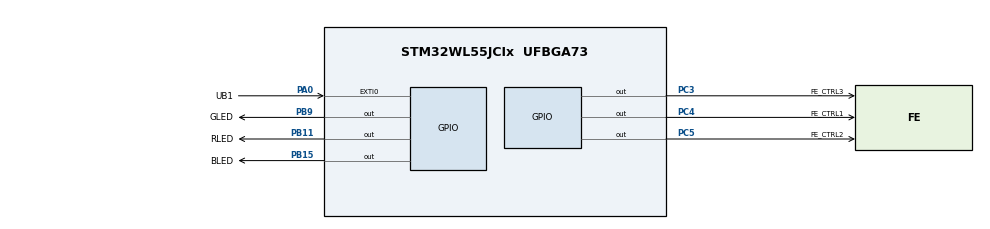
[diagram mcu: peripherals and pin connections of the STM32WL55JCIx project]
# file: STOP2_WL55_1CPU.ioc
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Mcu.Family=STM32WL
Mcu.Name=STM32WL55JCIx
Mcu.Package=UFBGA73
NVIC.EXTI0_IRQn=true\:0\:0\:false\:false\:true\:true\:true\:true
NVIC.PriorityGroup=NVIC_PRIORITYGROUP_4
NVIC.RTC_WKUP_IRQn=true\:0\:0\:false\:false\:true\:true\:true\:true
PA0.GPIO_Label=UB1
PA0.GPIO_ModeDefaultEXTI=GPIO_MODE_IT_FALLING
PA0.GPIO_PuPd=GPIO_PULLUP
PA0.Signal=GPXTI0
PA2.GPIO_Label=T_VCP_RX
PA2.Signal=USART2_TX
PA3.GPIO_Label=T_VCP_RX
PA3.Signal=USART2_RX
PB11.GPIO_Label=RLED
PB11.Signal=GPIO_Output
PB15.GPIO_Label=BLED
PB15.Signal=GPIO_Output
PB9.GPIO_Label=GLED
PB9.Signal=GPIO_Output
PC14-OSC32_IN.GPIO_Label=RCC_OSC32_IN
PC14-OSC32_IN.Signal=RCC_OSC32_IN
PC15-OSC32_OUT.GPIO_Label=RCC_OSC32_OUT
PC15-OSC32_OUT.Signal=RCC_OSC32_OUT
PC3.GPIO_Label=FE_CTRL3
PC3.GPIO_Speed=GPIO_SPEED_FREQ_VERY_HIGH
PC3.Signal=GPIO_Output
PC4.GPIO_Label=FE_CTRL1
PC4.GPIO_Speed=GPIO_SPEED_FREQ_VERY_HIGH
PC4.Signal=GPIO_Output
PC5.GPIO_Label=FE_CTRL2
PC5.GPIO_Speed=GPIO_SPEED_FREQ_VERY_HIGH
PC5.Signal=GPIO_Output
ProjectManager.HeapSize=0x200
ProjectManager.StackSize=0x400
ProjectManager.TargetToolchain=STM32CubeIDE
RCC.AHBFreq_Value=48000000
RCC.APB1Freq_Value=48000000
RCC.APB1TimFreq_Value=48000000
RCC.APB2Freq_Value=48000000
RCC.APB2TimFreq_Value=48000000
RCC.APB3Freq_Value=48000000
RCC.CortexFreq_Value=48000000
RCC.HCLKFreq_Value=48000000
RCC.HSE_VALUE=32000000
RCC.HSI_VALUE=16000000
RCC.LSE_VALUE=32768
RCC.PLLN=24
RCC.SYSCLKFreq_VALUE=48000000
RCC.SYSCLKSource=RCC_SYSCLKSOURCE_PLLCLK
RCC.VCOOutputFreq_Value=96000000
RTC.WakeUpCounter-WakeUp=0x0FA0
VP_RTC_VS_RTC_Activate.Mode=RTC_Enabled
VP_RTC_VS_RTC_WakeUp_intern.Mode=WakeUp
board=NUCLEO-WL55JC1

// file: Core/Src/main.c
/* USER CODE BEGIN Header */
/**
  ******************************************************************************
  * @file           : main.c
  * @brief          : Main program body
  ******************************************************************************
  * @attention
  *
  * Copyright (c) 2025 STMicroelectronics.
  * All rights reserved.
  *
  * This software is licensed under terms that can be found in the LICENSE file
  * in the root directory of this software component.
  * If no LICENSE file comes with this software, it is provided AS-IS.
  *
  ******************************************************************************
  */
/* USER CODE END Header */
#include "main.h"

/* USER CODE BEGIN Includes */
#include <stdio.h>
/* USER CODE END Includes */

RTC_HandleTypeDef hrtc;

/* USER CODE BEGIN PV */
uint16_t currentLED_Pin = BLED_Pin;
uint16_t sleepDuration = 0x0FA0;
/* USER CODE END PV */

void SystemClock_Config(void);
static void MX_GPIO_Init(void);
static void MX_RTC_Init(void);

int main(void)
{

  /* MCU Configuration--------------------------------------------------------*/

  /* Reset of all peripherals, Initializes the Flash interface and the Systick. */
  HAL_Init();

  /* Configure the system clock */
  SystemClock_Config();

  /* Initialize all configured peripherals */
  MX_GPIO_Init();
  MX_RTC_Init();

  /* Infinite loop */
  /* USER CODE BEGIN WHILE */
  while (1)
  {
	  HAL_GPIO_WritePin(GPIOB, currentLED_Pin, GPIO_PIN_SET);
	  HAL_Delay(1000);
	  HAL_GPIO_WritePin(GPIOB, currentLED_Pin, GPIO_PIN_RESET);
	  // Suspend SysTick increment
	  HAL_SuspendTick();
	  // Set RTC interrupt as our wake-up signal
	  HAL_RTCEx_SetWakeUpTimer_IT(&hrtc, sleepDuration, RTC_WAKEUPCLOCK_RTCCLK_DIV16, 0);

	  /* Enter STOP 2 mode */
	  HAL_PWREx_EnterSTOP2Mode(PWR_STOPENTRY_WFI);
	  /* ####----####----####----####
	   * MCU is asleep in STOP2 mode
	   * ####----####----####----####
	   */

	  // Deactivate wake-up timer
	  HAL_RTCEx_DeactivateWakeUpTimer(&hrtc);
	  // Reset System clock configuration, as STOP2 blocks most of the clocks
	  SystemClock_Config();
	  // Resume the SysTick increment
	  HAL_ResumeTick();
    /* USER CODE END WHILE */

  }
}

void SystemClock_Config(void)
{
  RCC_OscInitTypeDef RCC_OscInitStruct = {0};
  RCC_ClkInitTypeDef RCC_ClkInitStruct = {0};

  /** Configure the main internal regulator output voltage
  */
  __HAL_PWR_VOLTAGESCALING_CONFIG(PWR_REGULATOR_VOLTAGE_SCALE1);

  /** Initializes the CPU, AHB and APB buses clocks
  */
  RCC_OscInitStruct.OscillatorType = RCC_OSCILLATORTYPE_LSI|RCC_OSCILLATORTYPE_MSI;
  RCC_OscInitStruct.MSIState = RCC_MSI_ON;
  RCC_OscInitStruct.MSICalibrationValue = RCC_MSICALIBRATION_DEFAULT;
  RCC_OscInitStruct.MSIClockRange = RCC_MSIRANGE_6;
  RCC_OscInitStruct.LSIDiv = RCC_LSI_DIV1;
  RCC_OscInitStruct.LSIState = RCC_LSI_ON;
  RCC_OscInitStruct.PLL.PLLState = RCC_PLL_ON;
  RCC_OscInitStruct.PLL.PLLSource = RCC_PLLSOURCE_MSI;
  RCC_OscInitStruct.PLL.PLLM = RCC_PLLM_DIV1;
  RCC_OscInitStruct.PLL.PLLN = 24;
  RCC_OscInitStruct.PLL.PLLP = RCC_PLLP_DIV2;
  RCC_OscInitStruct.PLL.PLLR = RCC_PLLR_DIV2;
  RCC_OscInitStruct.PLL.PLLQ = RCC_PLLQ_DIV2;
  if (HAL_RCC_OscConfig(&RCC_OscInitStruct) != HAL_OK)
  {
    Error_Handler();
  }

  /** Configure the SYSCLKSource, HCLK, PCLK1 and PCLK2 clocks dividers
  */
  RCC_ClkInitStruct.ClockType = RCC_CLOCKTYPE_HCLK3|RCC_CLOCKTYPE_HCLK
                              |RCC_CLOCKTYPE_SYSCLK|RCC_CLOCKTYPE_PCLK1
                              |RCC_CLOCKTYPE_PCLK2;
  RCC_ClkInitStruct.SYSCLKSource = RCC_SYSCLKSOURCE_PLLCLK;
  RCC_ClkInitStruct.AHBCLKDivider = RCC_SYSCLK_DIV1;
  RCC_ClkInitStruct.APB1CLKDivider = RCC_HCLK_DIV1;
  RCC_ClkInitStruct.APB2CLKDivider = RCC_HCLK_DIV1;
  RCC_ClkInitStruct.AHBCLK3Divider = RCC_SYSCLK_DIV1;

  if (HAL_RCC_ClockConfig(&RCC_ClkInitStruct, FLASH_LATENCY_2) != HAL_OK)
  {
    Error_Handler();
  }
}

static void MX_RTC_Init(void)
{

  /** Initialize RTC Only
  */
  hrtc.Instance = RTC;
  hrtc.Init.HourFormat = RTC_HOURFORMAT_24;
  hrtc.Init.AsynchPrediv = 127;
  hrtc.Init.SynchPrediv = 255;
  hrtc.Init.OutPut = RTC_OUTPUT_DISABLE;
  hrtc.Init.OutPutRemap = RTC_OUTPUT_REMAP_NONE;
  hrtc.Init.OutPutPolarity = RTC_OUTPUT_POLARITY_HIGH;
  hrtc.Init.OutPutType = RTC_OUTPUT_TYPE_OPENDRAIN;
  hrtc.Init.OutPutPullUp = RTC_OUTPUT_PULLUP_NONE;
  hrtc.Init.BinMode = RTC_BINARY_NONE;
  if (HAL_RTC_Init(&hrtc) != HAL_OK)
  {
    Error_Handler();
  }

  /** Enable the WakeUp
  */
  if (HAL_RTCEx_SetWakeUpTimer_IT(&hrtc, 0x0FA0, RTC_WAKEUPCLOCK_RTCCLK_DIV16, 0) != HAL_OK)
  {
    Error_Handler();
  }

}

static void MX_GPIO_Init(void)
{
  GPIO_InitTypeDef GPIO_InitStruct = {0};

  /* GPIO Ports Clock Enable */
  __HAL_RCC_GPIOB_CLK_ENABLE();
  __HAL_RCC_GPIOC_CLK_ENABLE();
  __HAL_RCC_GPIOA_CLK_ENABLE();

  /*Configure GPIO pin Output Level */
  HAL_GPIO_WritePin(GPIOB, BLED_Pin|GLED_Pin|RLED_Pin, GPIO_PIN_RESET);

  /*Configure GPIO pin Output Level */
  HAL_GPIO_WritePin(GPIOC, FE_CTRL3_Pin|FE_CTRL2_Pin|FE_CTRL1_Pin, GPIO_PIN_RESET);

  /*Configure GPIO pins : BLED_Pin GLED_Pin RLED_Pin */
  GPIO_InitStruct.Pin = BLED_Pin|GLED_Pin|RLED_Pin;
  GPIO_InitStruct.Mode = GPIO_MODE_OUTPUT_PP;
  GPIO_InitStruct.Pull = GPIO_NOPULL;
  GPIO_InitStruct.Speed = GPIO_SPEED_FREQ_LOW;
  HAL_GPIO_Init(GPIOB, &GPIO_InitStruct);

  /*Configure GPIO pins : FE_CTRL3_Pin FE_CTRL2_Pin FE_CTRL1_Pin */
  GPIO_InitStruct.Pin = FE_CTRL3_Pin|FE_CTRL2_Pin|FE_CTRL1_Pin;
  GPIO_InitStruct.Mode = GPIO_MODE_OUTPUT_PP;
  GPIO_InitStruct.Pull = GPIO_NOPULL;
  GPIO_InitStruct.Speed = GPIO_SPEED_FREQ_VERY_HIGH;
  HAL_GPIO_Init(GPIOC, &GPIO_InitStruct);

  /*Configure GPIO pin : UB1_Pin */
  GPIO_InitStruct.Pin = UB1_Pin;
  GPIO_InitStruct.Mode = GPIO_MODE_IT_FALLING;
  GPIO_InitStruct.Pull = GPIO_PULLUP;
  HAL_GPIO_Init(UB1_GPIO_Port, &GPIO_InitStruct);

  /*Configure GPIO pins : T_VCP_RX_Pin T_VCP_RXA2_Pin */
  GPIO_InitStruct.Pin = T_VCP_RX_Pin|T_VCP_RXA2_Pin;
  GPIO_InitStruct.Mode = GPIO_MODE_AF_PP;
  GPIO_InitStruct.Pull = GPIO_NOPULL;
  GPIO_InitStruct.Speed = GPIO_SPEED_FREQ_LOW;
  GPIO_InitStruct.Alternate = GPIO_AF7_USART2;
  HAL_GPIO_Init(GPIOA, &GPIO_InitStruct);

  /* EXTI interrupt init*/
  HAL_NVIC_SetPriority(EXTI0_IRQn, 0, 0);
  HAL_NVIC_EnableIRQ(EXTI0_IRQn);

}

/* USER CODE BEGIN 4 */
/** @brief User-defined ISR when pressing button UB1,
  * the next LED to blink changes in this order: blue, green, red, blue, etc.
  * The duration of the STOP2 mode updates as well:
  * 2 seconds when blue LED is blinking,
  * 4 seconds when green LED is blinking,
  * 6 seconds when red LED is blinking.
  * `currentLED_Pin` and `sleepDuration` are updated here.
  * @param GPIO_Pin: Pin number that triggered the interrupt
  * @note  This function is called by the HAL when an external interrupt occurs.
  * @retval None
  */
void HAL_GPIO_EXTI_Callback(uint16_t GPIO_Pin){

	if (currentLED_Pin == BLED_Pin){
		/* Wake up clock counter updates to 4 seconds,
		 * which corresponds to 0x1F40.
		 */ sleepDuration = 0x1F40;
		// Change blinking LED to green LED
		HAL_GPIO_WritePin(GPIOB, BLED_Pin, 0);
		currentLED_Pin = GLED_Pin;
	} else if (currentLED_Pin == GLED_Pin){
		/* Wake up clock counter updates to 6 seconds,
		 * which corresponds to 0x2EE0.
		 */ sleepDuration = 0x2EE0;
		// Change blinking LED to red LED
		 HAL_GPIO_WritePin(GPIOB, GLED_Pin, 0);
		 currentLED_Pin = RLED_Pin;
	} else if (currentLED_Pin == RLED_Pin){
		/* Wake up clock counter goes back to 2 seconds,
		 * which corresponds to 0x0FA0.
		 */ sleepDuration = 0x0FA0;
		// Change blinking LED to blue LED
		HAL_GPIO_WritePin(GPIOB, RLED_Pin, 0);
		currentLED_Pin = BLED_Pin;
	}
}
/* USER CODE END 4 */

void Error_Handler(void)
{
  __disable_irq();
  while (1)
  {
  }
}
